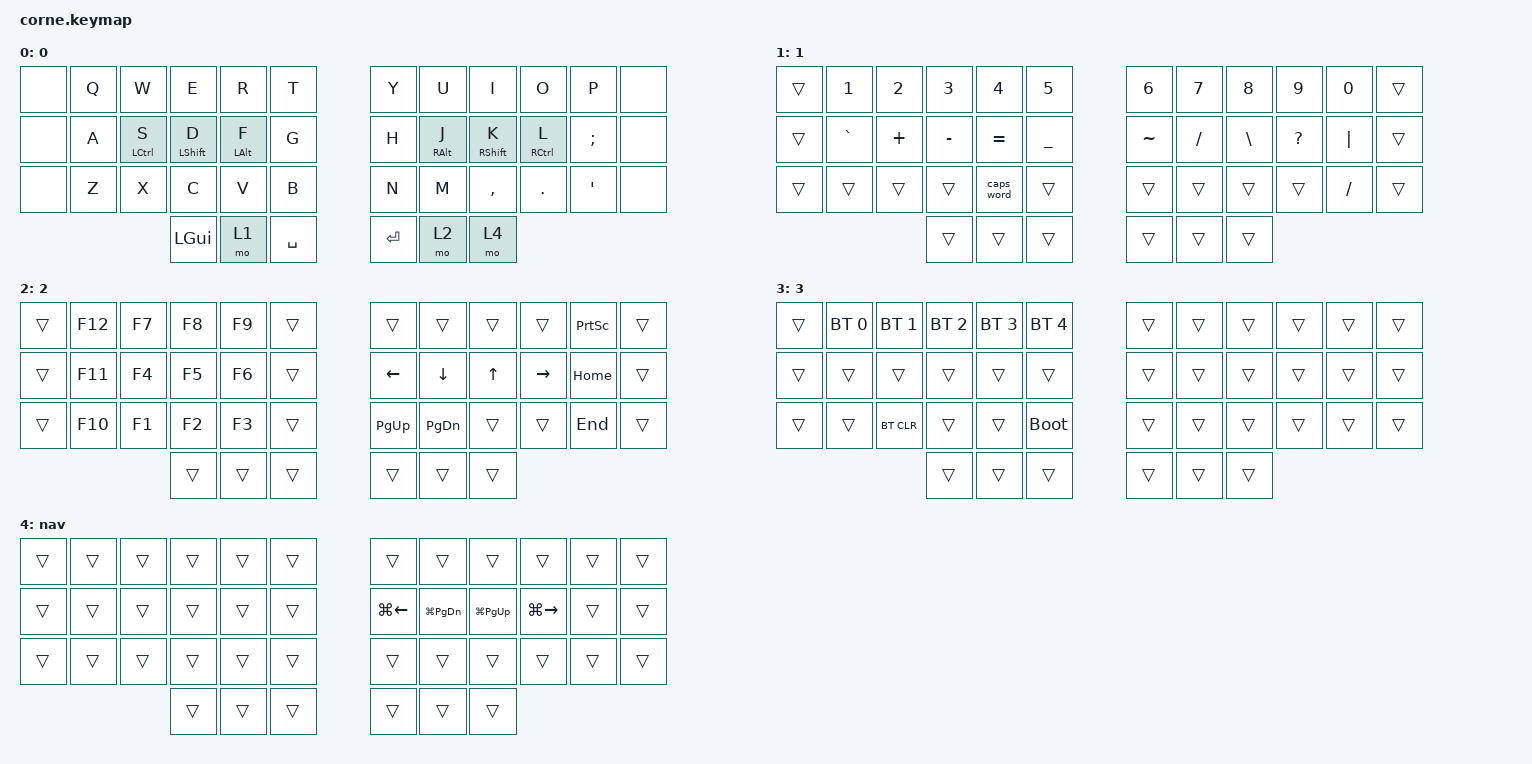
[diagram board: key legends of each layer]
/*
 * Copyright (c) 2020 The ZMK Contributors
 *
 * SPDX-License-Identifier: MIT
 */

#include <behaviors.dtsi>
#include <dt-bindings/zmk/bt.h>
#include <dt-bindings/zmk/keys.h>

#define DEFAULT_L 0
#define SYMBOLS_L 1
#define ARROWS_L  2
#define NUMBERS_L 3

/ {
    behaviors {
        left: left {
            compatible = "zmk,behavior-hold-tap";
            label = "LEFT";
            bindings = <&kp>, <&kp>;

            #binding-cells = <2>;
            tapping-term-ms = <280>;
            flavor = "balanced";
            quick-tap-ms = <165>;
            require-prior-idle-ms = <150>;
            hold-trigger-key-positions = <6 7 8 9 10 18 19 20 21 22 30 31 32 33 34 36 37 38 39 40 41>;
            hold-trigger-on-release;
        };

        right: right {
            compatible = "zmk,behavior-hold-tap";
            label = "RIGHT";
            bindings = <&kp>, <&kp>;

            #binding-cells = <2>;
            tapping-term-ms = <280>;
            flavor = "balanced";
            quick-tap-ms = <165>;
            require-prior-idle-ms = <150>;
            hold-trigger-on-release;
            hold-trigger-key-positions = <1 2 3 4 5 13 14 15 16 17 25 26 27 28 29 36 37 38 39 40 41>;
        };
    };

    combos {
        compatible = "zmk,combos";

        a {
            bindings = <&kp ESCAPE>;
            key-positions = <14 15>;
        };

        b {
            bindings = <&kp TAB>;
            key-positions = <2 3>;
        };

        d {
            bindings = <&kp DELETE>;
            key-positions = <7 8>;
        };

        e {
            bindings = <&kp BACKSPACE>;
            key-positions = <9 8>;
        };

        f {
            bindings = <&kp LEFT_PARENTHESIS>;
            key-positions = <20 21>;
        };

        g {
            bindings = <&kp RIGHT_PARENTHESIS>;
            key-positions = <32 33>;
        };

        left_bracket {
            bindings = <&kp LEFT_BRACKET>;
            key-positions = <19 20>;
        };

        right_bracket {
            bindings = <&kp RIGHT_BRACKET>;
            key-positions = <32 31>;
        };

        system {
            bindings = <&mo 3>;
            key-positions = <37 40>;
        };

        brace {
            bindings = <&kp LEFT_BRACE>;
            key-positions = <15 16>;
        };

        r-brace {
            bindings = <&kp RIGHT_BRACE>;
            key-positions = <27 28>;
        };
    };

    keymap {
        compatible = "zmk,keymap";

        default_layer {
            label = "0";
            bindings = <
&none  &kp Q  &kp W          &kp E               &kp R             &kp T        &kp Y      &kp U               &kp I                 &kp O           &kp P             &none
&none  &kp A  &left LCTRL S  &left LEFT_SHIFT D  &left LEFT_ALT F  &kp G        &kp H      &right RIGHT_ALT J  &right RIGHT_SHIFT K  &right RCTRL L  &kp SEMICOLON     &none
&none  &kp Z  &kp X          &kp C               &kp V             &kp B        &kp N      &kp M               &kp COMMA             &kp PERIOD      &kp SINGLE_QUOTE  &none
                             &kp LGUI            &mo 1             &kp SPACE    &kp ENTER  &mo 2               &mo 4
            >;
        };

        NUM {
            label = "1";
            bindings = <
&trans  &kp NUMBER_1  &kp NUMBER_2  &kp NUMBER_3  &kp NUMBER_4  &kp NUMBER_5    &kp NUMBER_6  &kp NUMBER_7  &kp NUMBER_8   &kp NUMBER_9  &kp NUMBER_0  &trans
&trans  &kp GRAVE     &kp PLUS      &kp MINUS     &kp EQUAL     &kp UNDER       &kp TILDE     &kp SLASH     &kp BACKSLASH  &kp QUESTION  &kp PIPE      &trans
&trans  &trans        &trans        &trans        &caps_word    &trans          &trans        &trans        &trans         &trans        &kp SLASH     &trans
                                    &trans        &trans        &trans          &trans        &trans        &trans
            >;
        };

        FN {
            label = "2";
            bindings = <
&trans  &kp F12  &kp F7  &kp F8  &kp F9  &trans    &trans    &trans    &trans     &trans     &kp PRINTSCREEN  &trans
&trans  &kp F11  &kp F4  &kp F5  &kp F6  &trans    &kp LEFT  &kp DOWN  &kp UP     &kp RIGHT  &kp HOME         &trans
&trans  &kp F10  &kp F1  &kp F2  &kp F3  &trans    &kp PG_UP &kp PG_DN &trans     &trans     &kp END          &trans
                         &trans  &trans  &trans    &trans    &trans    &trans
            >;
        };

        sys {
            label = "3";
            bindings = <
&trans  &bt BT_SEL 0  &bt BT_SEL 1  &bt BT_SEL 2  &bt BT_SEL 3  &bt BT_SEL 4    &trans  &trans  &trans  &trans  &trans  &trans
&trans  &trans        &trans        &trans        &trans        &trans          &trans  &trans  &trans  &trans  &trans  &trans
&trans  &trans        &bt BT_CLR    &trans        &trans        &bootloader     &trans  &trans  &trans  &trans  &trans  &trans
                                    &trans        &trans        &trans          &trans  &trans  &trans
            >;
        };

        nav {
            bindings = <
&trans  &trans  &trans  &trans  &trans  &trans    &trans        &trans             &trans         &trans         &trans  &trans
&trans  &trans  &trans  &trans  &trans  &trans    &kp LG(LEFT)  &kp LG(PAGE_DOWN)  &kp LG(PG_UP)  &kp LG(RIGHT)  &trans  &trans
&trans  &trans  &trans  &trans  &trans  &trans    &trans        &trans             &trans         &trans         &trans  &trans
                        &trans  &trans  &trans    &trans        &trans             &trans
            >;
        };
    };
};
